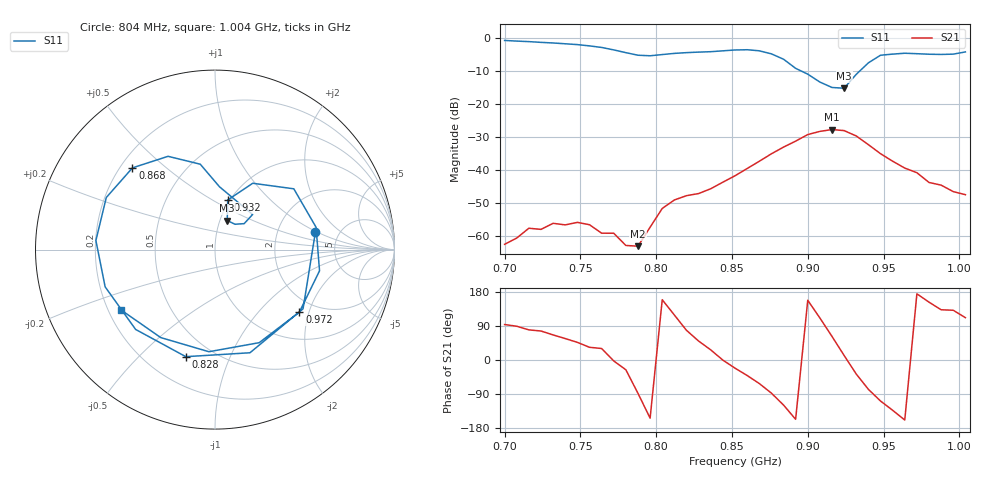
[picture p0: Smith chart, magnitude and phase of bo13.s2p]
# Hz S RI R 50
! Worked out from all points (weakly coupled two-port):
!   39 points, 700 MHz to 1.004 GHz, reference 50 ohm
!   highest |S21| = -27.63 dB at 916 MHz (marker M1); lowest = -62.9 dB at 788 MHz (marker M2)
!   lowest |S11| = -15.1 dB at 924 MHz (marker M3), VSWR 1.43, Z = 54.2 + j18.1 ohm
!   |S11| at or under -10 dB: 896.1 MHz to 934.1 MHz (37.95 MHz wide, 4.15 % of centre)
!   S12 and S22 are empty: the file has one direction only
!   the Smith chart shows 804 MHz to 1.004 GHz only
!   S11 on the Smith chart (normalised r, x): 804 MHz: 3.33, +0.95; 828 MHz: 0.36, -0.70; 868 MHz: 0.25, +0.39; 932 MHz: 0.98, +0.59; 972 MHz: 1.63, -1.73; 1.004 GHz: 0.25, -0.28
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7e8  0.7605 0.5318  -4.83e-05 0.000759  0 0  0 0
7.24e8  0.8294 -0.2563  0.000299 0.00124  0 0  0 0
7.4e8  0.4413 -0.6986  0.000824 0.00125  0 0  0 0
7.56e8  -0.198 -0.7421  0.00126 0.000831  0 0  0 0
7.72e8  -0.644 -0.1765  0.00112 -4.84e-05  0 0  0 0
7.88e8  -0.1907 0.5209  2.45e-05 -0.000712  0 0  0 0
7.96e8  0.2803 0.4662  -0.00124 -0.000617  0 0  0 0
8.04e8  0.5592 0.0967  -0.00248 0.000948  0 0  0 0
8.2e8  0.1949 -0.5747  0.000842 0.00406  0 0  0 0
8.28e8  -0.1625 -0.5966  0.00287 0.00342  0 0  0 0
8.52e8  -0.6636 0.0507  0.00772 -0.00304  0 0  0 0
8.68e8  -0.4597 0.4555  0.00645 -0.0121  0 0  0 0
9e8  0.2097 0.1955  -0.0322 0.0133  0 0  0 0
9.08e8  0.1624 0.1447  -0.0139 0.0364  0 0  0 0
9.16e8  0.1118 0.1412  0.0194 0.0368  0 0  0 0
9.24e8  0.0682 0.1617  0.0392 0.00828  0 0  0 0
9.32e8  0.0707 0.2762  0.0265 -0.02  0 0  0 0
9.48e8  0.4391 0.3387  -0.00561 -0.017  0 0  0 0
9.56e8  0.5631 0.1245  -0.00934 -0.0101  0 0  0 0
9.72e8  0.4699 -0.3484  -0.00919 0.000857  0 0  0 0
9.88e8  -0.0339 -0.569  -0.00405 0.00441  0 0  0 0
1.004e9  -0.5237 -0.3361  -0.00158 0.00398  0 0  0 0
